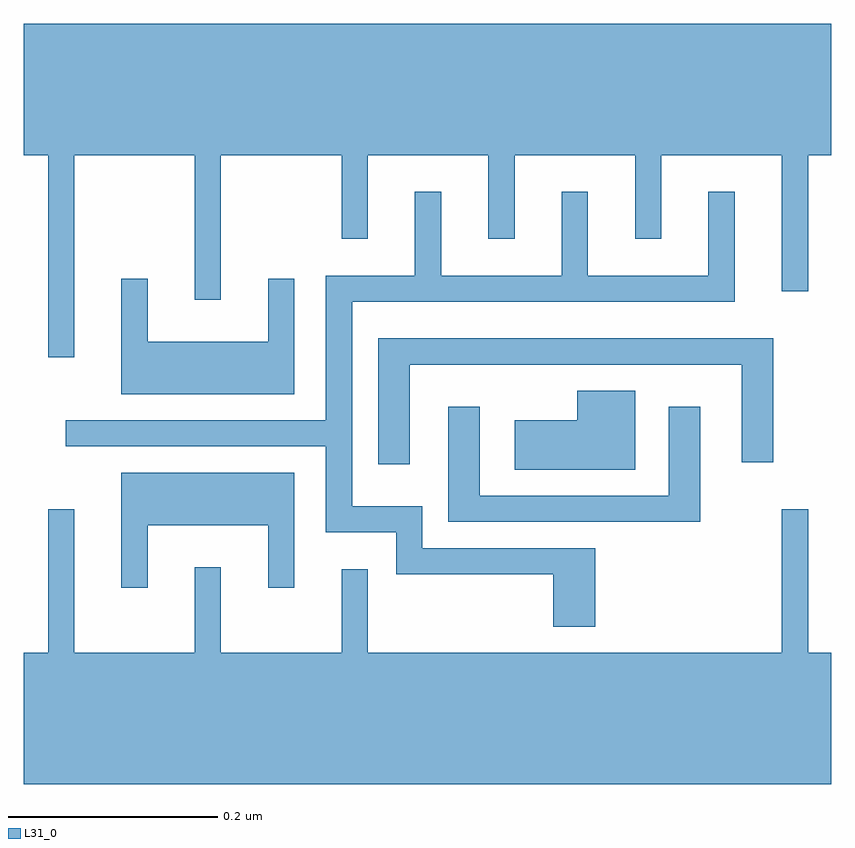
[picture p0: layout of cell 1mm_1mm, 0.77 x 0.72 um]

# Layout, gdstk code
import gdstk
lib = gdstk.Library(unit=1e-6, precision=1e-09)
def P(c, l, *ps):  # polygons
    for p in ps: c.add(gdstk.Polygon(p, *l))
L31_0 = (31, 0)

c_1mm_1mm = lib.new_cell('1mm_1mm')
P(c_1mm_1mm, L31_0, [(-308.021,664.651),(-308.021,664.761),(-307.991,664.761),(-307.991,664.676),(-307.811,664.676),(-307.811,664.761),(-307.781,664.761),(-307.781,664.651)],
  [(-307.921,664.551),(-307.921,664.601),(-308.071,664.601),(-308.071,664.641),(-308.138,664.641),(-308.138,664.723),(-308.386,664.723),(-308.386,664.748),(-308.138,664.748),(-308.138,664.886),(-308.053,664.886),(-308.053,664.966),(-308.028,664.966),(-308.028,664.886),(-307.913,664.886),(-307.913,664.966),(-307.888,664.966),(-307.888,664.886),(-307.773,664.886),(-307.773,664.966),(-307.748,664.966),(-307.748,664.861),(-308.113,664.861),(-308.113,664.666),(-308.046,664.666),(-308.046,664.626),(-307.881,664.626),(-307.881,664.551)],
  [(-308.333,664.588),(-308.333,664.698),(-308.168,664.698),(-308.168,664.588),(-308.193,664.588),(-308.193,664.648),(-308.308,664.648),(-308.308,664.588)],
  [(-307.958,664.701),(-307.958,664.748),(-307.898,664.748),(-307.898,664.776),(-307.843,664.776),(-307.843,664.701)],
  [(-308.088,664.706),(-308.088,664.826),(-307.711,664.826),(-307.711,664.708),(-307.741,664.708),(-307.741,664.801),(-308.058,664.801),(-308.058,664.706)],
  [(-308.333,664.773),(-308.333,664.883),(-308.308,664.883),(-308.308,664.823),(-308.193,664.823),(-308.193,664.883),(-308.168,664.883),(-308.168,664.773)],
  [(-308.403,664.808),(-308.403,665.001),(-308.426,665.001),(-308.426,665.126),(-307.656,665.126),(-307.656,665.001),(-307.678,665.001),(-307.678,664.871),(-307.703,664.871),(-307.703,665.001),(-307.818,665.001),(-307.818,664.921),(-307.843,664.921),(-307.843,665.001),(-307.958,665.001),(-307.958,664.921),(-307.983,664.921),(-307.983,665.001),(-308.098,665.001),(-308.098,664.921),(-308.123,664.921),(-308.123,665.001),(-308.238,665.001),(-308.238,664.863),(-308.263,664.863),(-308.263,665.001),(-308.378,665.001),(-308.378,664.808)],
  [(-308.426,664.401),(-308.426,664.526),(-308.403,664.526),(-308.403,664.663),(-308.378,664.663),(-308.378,664.526),(-308.263,664.526),(-308.263,664.608),(-308.238,664.608),(-308.238,664.526),(-308.123,664.526),(-308.123,664.606),(-308.098,664.606),(-308.098,664.526),(-307.703,664.526),(-307.703,664.663),(-307.678,664.663),(-307.678,664.526),(-307.656,664.526),(-307.656,664.401)])

lib.write_gds('1mm_1mm.gds')
